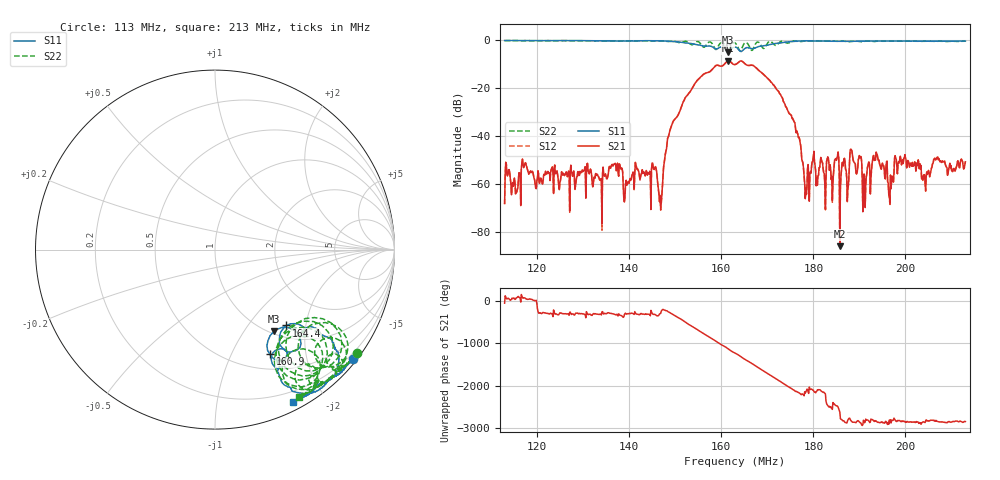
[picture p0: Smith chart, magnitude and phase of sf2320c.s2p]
# Hz S RI R 50
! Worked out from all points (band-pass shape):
!   801 points, 113 MHz to 213 MHz, reference 50 ohm
!   highest |S21| = -8.53 dB at 161.5 MHz (marker M1); lowest = -85.7 dB at 185.8 MHz (marker M2)
!   |S21| within 3 dB of the highest: 158.3 MHz to 167.6 MHz (9.245 MHz wide, 5.67 % of centre)
!   lowest |S11| = -5.0 dB at 161.5 MHz (marker M3), VSWR 3.56, Z = 51.9 - j69.1 ohm
!   |S11| at or under -10 dB: nowhere
!   |S22| runs from -4.5 to -0.2 dB; largest |S21 - S12| = 0.0023
!   S11 on the Smith chart (normalised r, x): 113 MHz: 0.08, -2.87; 160.9 MHz: 0.69, -1.42; 164.4 MHz: 1.23, -1.56; 213 MHz: 0.08, -1.63
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1.13e8  0.7697 -0.6099  0.00021 -0.000342  0.000193 -0.000335  0.7908 -0.5741
1.1725e8  0.7524 -0.6275  0.00095 0.00218  0.000976 0.00215  0.7781 -0.5847
1.2975e8  0.6936 -0.6931  0.000989 0.00152  0.00102 0.00149  0.7223 -0.6472
1.45375e8  0.5835 -0.7786  0.00164 0.00126  0.00166 0.00124  0.6364 -0.7222
1.46375e8  0.5653 -0.7884  0.000795 9.69e-05  0.00078 9e-05  0.6288 -0.7305
1.52e8  0.4219 -0.7719  -0.0344 -0.0453  -0.0345 -0.0453  0.5685 -0.7464
1.5825e8  0.3186 -0.6343  -0.2556 0.0478  -0.2561 0.048  0.3546 -0.7058
1.60875e8  0.3055 -0.5827  0.3297 -0.0246  0.3297 -0.0255  0.3711 -0.6755
1.615e8  0.328 -0.4559  0.2327 -0.2934  0.2335 -0.2948  0.3979 -0.4607
1.63e8  0.449 -0.5634  -0.2724 -0.1481  -0.2736 -0.1465  0.5205 -0.7015
1.64375e8  0.3981 -0.4224  -0.1568 0.3347  -0.1571 0.3356  0.4964 -0.399
1.6725e8  0.5259 -0.4285  0.0468 -0.2774  0.0464 -0.2779  0.6467 -0.4079
1.72875e8  0.6744 -0.5599  -0.0162 -0.0718  -0.0163 -0.0721  0.7323 -0.5764
1.78625e8  0.6533 -0.7124  0.000196 0.000887  0.000188 0.000937  0.6642 -0.7014
1.7975e8  0.6327 -0.7287  0.00109 0.00276  0.00113 0.0028  0.6452 -0.7108
1.8575e8  0.5732 -0.753  -9.2e-06 -5.1e-05  4.32e-06 -5.95e-05  0.6013 -0.7392
1.88375e8  0.5623 -0.7602  0.00417 0.00268  0.00421 0.00266  0.5866 -0.7372
1.91125e8  0.5537 -0.7732  0.00131 0.000191  0.00135 0.000166  0.5783 -0.7458
1.935e8  0.5401 -0.7895  0.00202 0.00251  0.00202 0.0025  0.5606 -0.7587
1.96375e8  0.5219 -0.8053  0.000548 -0.000272  0.000545 -0.000297  0.5519 -0.7748
1.99375e8  0.5024 -0.8161  0.00247 0.00207  0.00246 0.00209  0.5314 -0.7904
2.13e8  0.4365 -0.8498  0.00235 0.00177  0.00237 0.00176  0.4683 -0.8228
